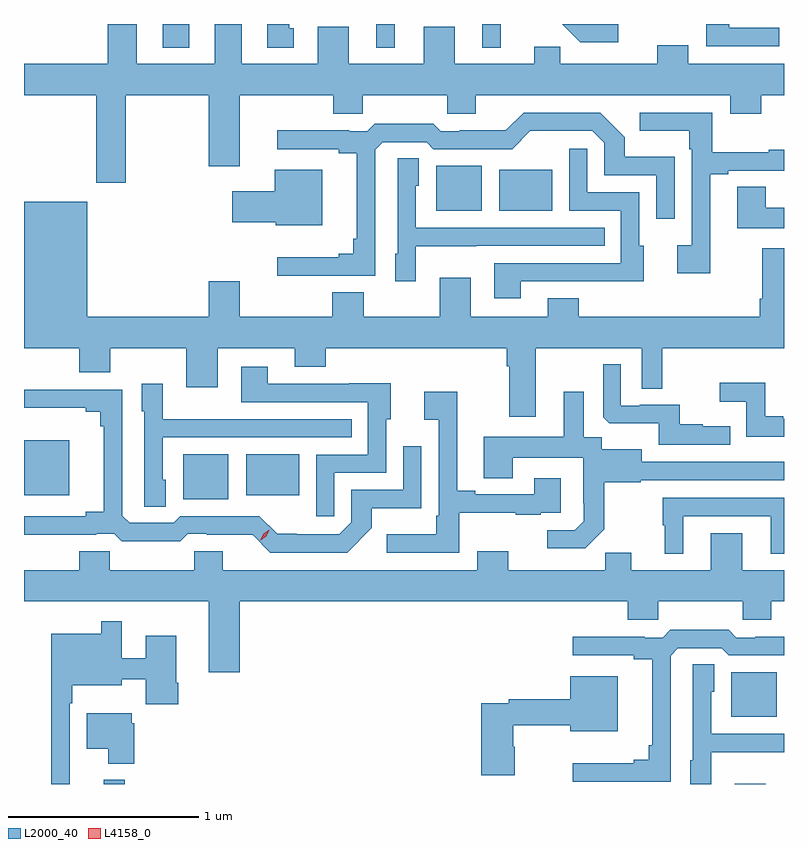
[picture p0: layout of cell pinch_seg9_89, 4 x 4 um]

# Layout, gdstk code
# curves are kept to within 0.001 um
import gdstk
lib = gdstk.Library(unit=1e-6, precision=1e-09)
def R(c, l, rs):  # rectangles x0, y0, x1, y1
    for r in rs: c.add(gdstk.rectangle(r[:2], r[2:], *l))
def P(c, l, *ps):  # polygons
    for p in ps: c.add(gdstk.Polygon(p, *l))
L2000_40 = (2000, 40)
L4158_0 = (4158, 0)

pinch_seg9_89 = lib.new_cell('pinch_seg9_89')
R(pinch_seg9_89, L2000_40, [(1111.508,1198.122,1111.618,1198.144), (1114.829,1198.122,1114.993,1198.123), (1114.811,1198.475,1115.05,1198.711), (1111.925,1199.621,1112.164,1199.857), (1111.088,1199.642,1111.327,1199.932), (1112.258,1199.642,1112.536,1199.857), (1113.257,1201.139,1113.496,1201.375), (1113.59,1201.139,1113.868,1201.354), (1111.817,1201.997,1111.957,1202.122), (1112.942,1201.997,1113.04,1202.122), (1113.5,1201.997,1113.598,1202.122)])
P(pinch_seg9_89, L2000_40, [(1114.216,1202.121),(1114.071,1202.121),(1114.07,1202.122),(1113.92,1202.122),(1114.015,1202.027),(1114.216,1202.027)],
  [(1111.623,1201.748),(1112.06,1201.748),(1112.06,1201.374),(1112.224,1201.374),(1112.224,1201.748),(1112.716,1201.748),(1112.716,1201.65),(1112.871,1201.65),(1112.871,1201.748),(1113.316,1201.748),(1113.316,1201.65),(1113.466,1201.65),(1113.466,1201.748),(1114.805,1201.748),(1114.805,1201.649),(1114.969,1201.649),(1114.969,1201.748),(1115.088,1201.748),(1115.088,1201.912),(1114.585,1201.912),(1114.585,1202.011),(1114.421,1202.011),(1114.421,1201.912),(1113.911,1201.912),(1113.911,1202.003),(1113.773,1202.003),(1113.773,1201.912),(1113.355,1201.912),(1113.355,1202.107),(1113.191,1202.107),(1113.191,1201.912),(1112.797,1201.912),(1112.797,1202.107),(1112.633,1202.107),(1112.633,1201.912),(1112.233,1201.912),(1112.233,1202.122),(1112.093,1202.122),(1112.093,1201.912),(1111.681,1201.912),(1111.681,1202.122),(1111.529,1202.122),(1111.529,1201.912),(1111.088,1201.912),(1111.088,1201.748),(1111.468,1201.748),(1111.468,1201.287),(1111.623,1201.287)],
  [(1115.062,1202.101),(1114.801,1202.101),(1114.801,1202.122),(1114.68,1202.122),(1114.68,1202.004),(1115.062,1202.004)],
  [(1112.509,1202.1),(1112.485,1202.1),(1112.485,1202.122),(1112.369,1202.122),(1112.369,1201.998),(1112.509,1201.998)],
  [(1114.699,1201.332),(1114.795,1201.332),(1114.795,1201.35),(1115.088,1201.35),(1115.088,1201.459),(1115.009,1201.459),(1115.009,1201.448),(1114.711,1201.448),(1114.711,1201.656),(1114.329,1201.656),(1114.329,1201.559),(1114.59,1201.559),(1114.59,1201.463),(1114.602,1201.463),(1114.602,1200.958),(1114.527,1200.958),(1114.527,1200.81),(1114.699,1200.81)],
  [(1112.937,1201.461),(1112.976,1201.5),(1113.207,1201.5),(1113.243,1201.464),(1113.657,1201.464),(1113.752,1201.559),(1114.08,1201.56),(1114.143,1201.497),(1114.143,1201.326),(1114.416,1201.326),(1114.416,1201.098),(1114.512,1201.098),(1114.512,1201.423),(1114.251,1201.423),(1114.251,1201.526),(1114.12,1201.656),(1113.717,1201.656),(1113.623,1201.562),(1113.382,1201.562),(1113.382,1201.557),(1113.282,1201.557),(1113.243,1201.597),(1112.935,1201.597),(1112.895,1201.557),(1112.801,1201.557),(1112.801,1201.562),(1112.421,1201.562),(1112.421,1201.464),(1112.744,1201.464),(1112.744,1201.442),(1112.84,1201.442),(1112.84,1200.991),(1112.821,1200.991),(1112.821,1200.914),(1112.744,1200.914),(1112.744,1200.895),(1112.421,1200.895),(1112.421,1200.798),(1112.937,1200.798)],
  [(1113.703,1200.768),(1114.133,1200.768),(1114.133,1200.767),(1114.351,1200.767),(1114.351,1200.954),(1114.326,1200.954),(1114.326,1201.236),(1114.053,1201.236),(1114.053,1201.465),(1113.957,1201.465),(1113.957,1201.14),(1114.23,1201.14),(1114.23,1200.864),(1113.563,1200.864),(1113.563,1200.678),(1113.703,1200.678)],
  [(1113.15,1200.953),(1113.467,1200.953),(1113.467,1200.954),(1114.145,1200.954),(1114.145,1201.05),(1113.15,1201.05),(1113.15,1201.272),(1113.166,1201.272),(1113.166,1201.415),(1113.054,1201.415),(1113.054,1200.912),(1113.041,1200.912),(1113.041,1200.768),(1113.15,1200.768)],
  [(1112.659,1201.354),(1112.408,1201.354),(1112.408,1201.243),(1112.184,1201.243),(1112.184,1201.078),(1112.412,1201.078),(1112.412,1201.064),(1112.659,1201.064)],
  [(1115.088,1201.156),(1114.993,1201.156),(1114.993,1201.265),(1114.841,1201.265),(1114.841,1201.046),(1115.088,1201.046)],
  [(1113.781,1200.416),(1114.338,1200.416),(1114.338,1200.202),(1114.447,1200.202),(1114.447,1200.416),(1115.088,1200.416),(1115.088,1200.943),(1114.973,1200.943),(1114.973,1200.676),(1114.961,1200.676),(1114.961,1200.58),(1114.009,1200.58),(1114.009,1200.679),(1113.845,1200.679),(1113.845,1200.58),(1113.439,1200.58),(1113.439,1200.787),(1113.275,1200.787),(1113.275,1200.58),(1112.875,1200.58),(1112.875,1200.709),(1112.711,1200.709),(1112.711,1200.58),(1112.224,1200.58),(1112.224,1200.769),(1112.06,1200.769),(1112.06,1200.58),(1111.42,1200.58),(1111.42,1201.186),(1111.088,1201.186),(1111.088,1200.416),(1111.379,1200.416),(1111.379,1200.288),(1111.543,1200.288),(1111.543,1200.416),(1111.943,1200.416),(1111.943,1200.21),(1112.107,1200.21),(1112.107,1200.416),(1112.513,1200.416),(1112.513,1200.317),(1112.677,1200.317),(1112.677,1200.416),(1113.629,1200.416),(1113.629,1200.32),(1113.641,1200.32),(1113.641,1200.054),(1113.781,1200.054)],
  [(1114.805,1200.004),(1114.661,1200.004),(1114.661,1200.016),(1114.538,1200.016),(1114.538,1200.117),(1114.33,1200.117),(1114.33,1200.114),(1114.23,1200.114),(1114.23,1200.331),(1114.137,1200.331),(1114.137,1200.051),(1114.169,1200.02),(1114.428,1200.02),(1114.428,1199.907),(1114.805,1199.907)],
  [(1112.721,1199.76),(1112.994,1199.76),(1112.994,1200.042),(1113.019,1200.042),(1113.019,1200.23),(1112.801,1200.23),(1112.801,1200.228),(1112.371,1200.228),(1112.371,1200.319),(1112.231,1200.319),(1112.231,1200.132),(1112.898,1200.132),(1112.898,1199.856),(1112.625,1199.856),(1112.625,1199.532),(1112.721,1199.532)],
  [(1115.088,1200.045),(1115.083,1200.045),(1115.083,1200.058),(1114.989,1200.058),(1114.989,1200.233),(1114.749,1200.233),(1114.749,1200.134),(1114.89,1200.134),(1114.89,1199.949),(1115.088,1199.949)],
  [(1111.834,1199.724),(1111.818,1199.724),(1111.818,1199.946),(1112.813,1199.946),(1112.813,1200.042),(1112.135,1200.042),(1112.135,1200.043),(1111.818,1200.043),(1111.818,1200.229),(1111.709,1200.229),(1111.709,1200.084),(1111.722,1200.084),(1111.722,1199.581),(1111.834,1199.581)],
  [(1112.919,1199.471),(1112.919,1199.573),(1113.18,1199.573),(1113.18,1199.899),(1113.084,1199.899),(1113.084,1199.67),(1112.811,1199.67),(1112.811,1199.499),(1112.748,1199.436),(1112.524,1199.436),(1112.524,1199.438),(1112.42,1199.438),(1112.325,1199.532),(1111.911,1199.532),(1111.875,1199.496),(1111.644,1199.496),(1111.605,1199.535),(1111.605,1200.198),(1111.089,1200.198),(1111.089,1200.101),(1111.412,1200.101),(1111.412,1200.082),(1111.489,1200.082),(1111.489,1200.005),(1111.508,1200.005),(1111.508,1199.555),(1111.412,1199.555),(1111.412,1199.532),(1111.089,1199.532),(1111.089,1199.435),(1111.469,1199.435),(1111.469,1199.439),(1111.563,1199.439),(1111.603,1199.4),(1111.911,1199.4),(1111.95,1199.439),(1112.05,1199.439),(1112.05,1199.435),(1112.291,1199.435),(1112.385,1199.34),(1112.788,1199.34)],
  [(1113.379,1199.549),(1113.677,1199.549),(1113.677,1199.538),(1113.809,1199.538),(1113.809,1199.55),(1113.913,1199.55),(1113.913,1199.731),(1113.773,1199.731),(1113.773,1199.646),(1113.463,1199.646),(1113.463,1199.665),(1113.367,1199.665),(1113.367,1200.187),(1113.195,1200.187),(1113.195,1200.038),(1113.27,1200.038),(1113.27,1199.533),(1113.258,1199.533),(1113.258,1199.437),(1112.997,1199.437),(1112.997,1199.34),(1113.379,1199.34)],
  [(1114.143,1199.463),(1114.143,1199.709),(1114.335,1199.709),(1114.335,1199.721),(1115.088,1199.721),(1115.088,1199.818),(1114.339,1199.817),(1114.339,1199.884),(1114.128,1199.884),(1114.128,1199.948),(1114.033,1199.948),(1114.033,1200.187),(1113.929,1200.187),(1113.929,1199.95),(1113.509,1199.95),(1113.509,1199.731),(1113.661,1199.731),(1113.661,1199.84),(1114.032,1199.84),(1114.032,1199.599),(1114.034,1199.599),(1114.034,1199.504),(1113.987,1199.457),(1113.843,1199.457),(1113.843,1199.363),(1114.043,1199.363)],
  [(1114.558,1199.532),(1115.018,1199.532),(1115.018,1199.333),(1115.088,1199.333),(1115.088,1199.628),(1114.449,1199.628),(1114.449,1199.484),(1114.46,1199.484),(1114.46,1199.333),(1114.558,1199.333)],
  [(1112.224,1199.084),(1114.265,1199.084),(1114.265,1198.986),(1114.425,1198.986),(1114.425,1199.084),(1114.87,1199.084),(1114.87,1198.986),(1115.02,1198.986),(1115.02,1199.084),(1115.088,1199.084),(1115.088,1199.248),(1114.867,1199.248),(1114.867,1199.443),(1114.703,1199.443),(1114.703,1199.248),(1114.285,1199.248),(1114.285,1199.339),(1114.147,1199.339),(1114.147,1199.248),(1113.637,1199.248),(1113.637,1199.347),(1113.473,1199.347),(1113.473,1199.248),(1112.134,1199.248),(1112.134,1199.346),(1111.984,1199.346),(1111.984,1199.248),(1111.539,1199.248),(1111.539,1199.346),(1111.379,1199.346),(1111.379,1199.248),(1111.088,1199.248),(1111.088,1199.084),(1112.06,1199.084),(1112.06,1198.71),(1112.224,1198.71)],
  [(1111.329,1198.547),(1111.342,1198.547),(1111.342,1198.643),(1111.603,1198.643),(1111.603,1198.673),(1111.73,1198.673),(1111.73,1198.542),(1111.901,1198.542),(1111.901,1198.654),(1111.888,1198.654),(1111.888,1198.903),(1111.73,1198.903),(1111.73,1198.783),(1111.602,1198.783),(1111.602,1198.978),(1111.494,1198.978),(1111.494,1198.912),(1111.232,1198.912),(1111.232,1198.122),(1111.329,1198.122)],
  [(1114.491,1198.797),(1114.53,1198.836),(1114.761,1198.836),(1114.797,1198.8),(1115.088,1198.8),(1115.088,1198.898),(1114.936,1198.898),(1114.936,1198.893),(1114.836,1198.893),(1114.797,1198.933),(1114.489,1198.933),(1114.449,1198.893),(1114.355,1198.893),(1114.355,1198.898),(1113.975,1198.898),(1113.975,1198.8),(1114.298,1198.8),(1114.298,1198.778),(1114.394,1198.778),(1114.394,1198.327),(1114.375,1198.327),(1114.375,1198.25),(1114.298,1198.25),(1114.298,1198.231),(1113.975,1198.231),(1113.975,1198.134),(1114.491,1198.134)],
  [(1114.704,1198.289),(1115.021,1198.289),(1115.021,1198.29),(1115.088,1198.29),(1115.088,1198.386),(1114.704,1198.386),(1114.704,1198.608),(1114.72,1198.608),(1114.72,1198.751),(1114.608,1198.751),(1114.608,1198.248),(1114.595,1198.248),(1114.595,1198.122),(1114.704,1198.122)],
  [(1113.672,1198.317),(1113.664,1198.317),(1113.664,1198.432),(1113.962,1198.432),(1113.962,1198.4),(1114.213,1198.4),(1114.213,1198.69),(1113.962,1198.69),(1113.962,1198.568),(1113.64,1198.568),(1113.64,1198.548),(1113.494,1198.548),(1113.494,1198.167),(1113.672,1198.167)],
  [(1111.667,1198.443),(1111.654,1198.443),(1111.654,1198.495),(1111.418,1198.495),(1111.418,1198.307),(1111.532,1198.307),(1111.532,1198.229),(1111.667,1198.229)])
P(pinch_seg9_89, L4158_0, [(1112.332,1199.406),(1112.332,1199.406),(1112.349,1199.44),(1112.38,1199.461),(1112.38,1199.461),(1112.38,1199.46),(1112.364,1199.427),(1112.333,1199.406)])

lib.write_gds('pinch_seg9_89.gds')
